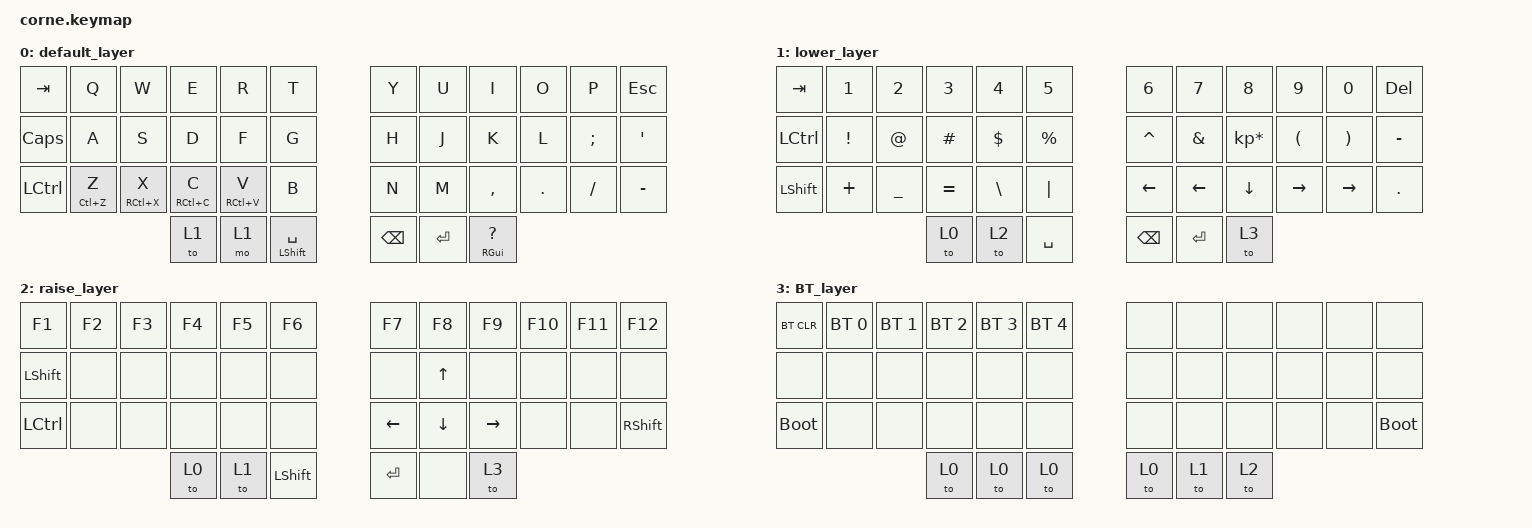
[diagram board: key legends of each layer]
/*
 * Copyright (c) 2020 The ZMK Contributors
 *
 * SPDX-License-Identifier: MIT
 */

#include <behaviors.dtsi>
#include <dt-bindings/zmk/bt.h>
#include <dt-bindings/zmk/keys.h>

// // Layer definitions

#define DEFAULT 0
#define LOWER 1
#define RAISE 2
#define BT 3

// -----------------

/ {
    combos { compatible = "zmk,combos"; };

    behaviors {
        LongPress: LongPress {
            compatible = "zmk,behavior-hold-tap";
            label = "LONGPRESS";
            bindings = <&kp>, <&kp>;

            #binding-cells = <2>;
            tapping-term-ms = <350>;
            flavor = "tap-preferred";
        };

        HMShiftR: HMShiftR {
            compatible = "zmk,behavior-hold-tap";
            label = "HMSHIFTR";
            bindings = <&kp>, <&kp>;

            #binding-cells = <2>;
            tapping-term-ms = <200>;
            hold-while-undecided;
            hold-trigger-key-positions = <0 1 2 4 5 12 13 14 15 16 17 24 25 26 27 28 29 36 37 38 3>;
            hold-trigger-on-release;
        };

        HMShiftL: HMShiftL {
            compatible = "zmk,behavior-hold-tap";
            label = "HMSHIFTL";
            bindings = <&kp>, <&kp>;

            #binding-cells = <2>;
            tapping-term-ms = <200>;
            hold-while-undecided;
            hold-trigger-key-positions = <6 7 8 9 10 11 18 19 20 21 22 23 30 31 32 33 34 35 39 40 41>;
            hold-trigger-on-release;
        };

        HMR: HMR {
            compatible = "zmk,behavior-hold-tap";
            label = "HMR";
            bindings = <&kp>, <&kp>;

            #binding-cells = <2>;
            tapping-term-ms = <200>;
            hold-while-undecided;
            hold-trigger-key-positions = <0 1 2 4 5 12 13 14 15 16 17 24 25 26 27 28 29 36 37 38 3>;
            hold-trigger-on-release;
            flavor = "tap-preferred";
        };

        HML: HML {
            compatible = "zmk,behavior-hold-tap";
            label = "HML";
            bindings = <&kp>, <&kp>;

            #binding-cells = <2>;
            tapping-term-ms = <200>;
            hold-while-undecided;
            hold-trigger-key-positions = <6 7 8 9 10 11 18 19 20 21 22 23 30 31 32 33 34 35 39 40 41>;
            hold-trigger-on-release;
            flavor = "tap-preferred";
        };
    };

    keymap {
        compatible = "zmk,keymap";

        default_layer {
            // -----------------------------------------------------------------------------------------
            // |  TAB |  Q  |  W  |  E  |  R  |  T  |   |  Y  |  U   |  I  |  O  |  P  | BKSP |
            // | CTRL |  A  |  S  |  D  |  F  |  G  |   |  H  |  J   |  K  |  L  |  ;  |  '   |
            // | SHFT |  Z  |  X  |  C  |  V  |  B  |   |  N  |  M   |  ,  |  .  |  /  | ESC  |
            //                    | GUI | LWR | SPC |   | ENT | RSE  | ALT |

            bindings = <
&kp TAB           &kp Q               &kp W               &kp E               &kp R               &kp T                          &kp Y          &kp U      &kp I                          &kp O       &kp P          &kp ESCAPE
&kp CAPSLOCK      &kp A               &kp S               &kp D               &kp F               &kp G                          &kp H          &kp J      &kp K                          &kp L       &kp SEMICOLON  &kp SQT
&kp LEFT_CONTROL  &LongPress LC(Z) Z  &LongPress RC(X) X  &LongPress RC(C) C  &LongPress RC(V) V  &kp B                          &kp N          &kp M      &kp COMMA                      &kp PERIOD  &kp SLASH      &kp MINUS
                                                          &to 1               &mo 1               &LongPress LEFT_SHIFT SPACE    &kp BACKSPACE  &kp ENTER  &LongPress RIGHT_GUI QUESTION
            >;
        };

        lower_layer {
            // -----------------------------------------------------------------------------------------
            // |  TAB |  1  |  2  |  3  |  4  |  5  |   |  6  |  7  |  8  |  9  |  0  | BKSP |
            // | BTCLR|  !  |  @  |  #  |  $  |  %  |   |  ^  |  &  |  *  |  (  |  )  |  -   |
            // | SHFT |  +  |  _  |  =  |  /  | "|" |   | LFT |  UP  | DOWN | RGT |  ,  |  .   |
            //                    | BT | DEF | SPC |   | ENT | RSE | ALT |

            bindings = <
&kp TAB    &kp N1    &kp N2     &kp N3     &kp N4    &kp N5       &kp N6         &kp N7     &kp N8           &kp N9     &kp N0     &kp DELETE
&kp LCTRL  &kp EXCL  &kp AT     &kp HASH   &kp DLLR  &kp PRCNT    &kp CARET      &kp AMPS   &kp KP_MULTIPLY  &kp LPAR   &kp RPAR   &kp MINUS
&kp LSHFT  &kp PLUS  &kp UNDER  &kp EQUAL  &kp BSLH  &kp PIPE     &kp LEFT       &kp LEFT   &kp DOWN         &kp RIGHT  &kp RIGHT  &kp DOT
                                &to 0      &to 2     &kp SPACE    &kp BACKSPACE  &kp ENTER  &to 3
            >;
        };

        raise_layer {
            // -----------------------------------------------------------------------------------------
            // |   #  |  Q  |  W  |  E  |  R  |  T  |   |  Y  |  K  |  U  |  S  |  .  | BKSP |
            // | SHFT |  A  |  D  |  F  |  O  |  P  |   |  H  |  ,  |  L  |  ;  |  _  |  ?   |
            // | CTRL |  Z  |  X  |  C  |  V  |  I  |   |  B  |  J  |  N  |  <  |  >  | SHFT |
            //                    | GUI | LWR | SPC |   | ENT | DEF | ALT |

            bindings = <
&kp F1     &kp F2  &kp F3  &kp F4  &kp F5  &kp F6            &kp F7     &kp F8          &kp F9     &kp F10  &kp F11  &kp F12
&kp LSHFT  &none   &none   &none   &none   &none             &none      &kp UP_ARROW    &none      &none    &none    &none
&kp LCTRL  &none   &none   &none   &none   &none             &kp LEFT   &kp DOWN_ARROW  &kp RIGHT  &none    &none    &kp RSHFT
                           &to 0   &to 1   &kp LEFT_SHIFT    &kp ENTER  &none           &to 3
            >;
        };

        BT_layer {
            // -----------------------------------------------------------------------------------------
            // | BT CLR | BT 0 | BT 1 | BT 2 | BT 3 | BT 4 |   |     |     |     |     |     |     |
            // |        |      |      |      |      |      |   |     |     |     |     |     |     |
            // |        |      |      |      |      |      |   |     |     |     |     |     |     |
            //                        |  DEF |      | LWR  |   | RSE |     |     |

            bindings = <
&bt BT_CLR   &bt BT_SEL 0  &bt BT_SEL 1  &bt BT_SEL 2  &bt BT_SEL 3  &bt BT_SEL 4    &none  &none  &none  &none  &none  &none
&none        &none         &none         &none         &none         &none           &none  &none  &none  &none  &none  &none
&bootloader  &none         &none         &none         &none         &none           &none  &none  &none  &none  &none  &bootloader
                                         &to 0         &to 0         &to 0           &to 0  &to 1  &to 2
            >;
        };
    };
};
